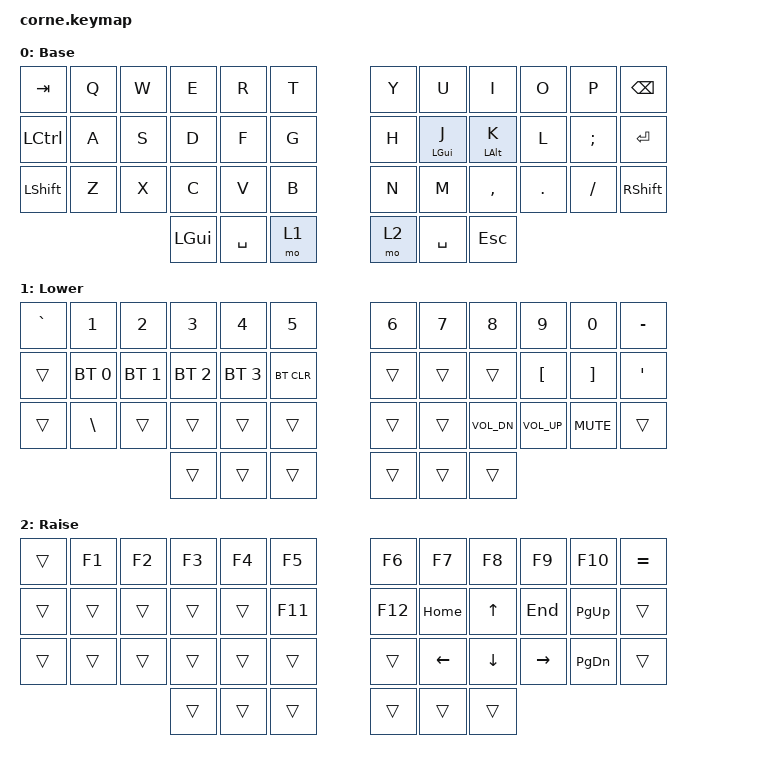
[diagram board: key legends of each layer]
/*
 * Copyright (c) 2020 The ZMK Contributors
 *
 * SPDX-License-Identifier: MIT
 */

#include <behaviors.dtsi>
#include <dt-bindings/zmk/keys.h>
#include <dt-bindings/zmk/bt.h>

/ {
        keymap {
                compatible = "zmk,keymap";

                default_layer {
// -------------------------------------------------------------------------------
// |  TAB |  Q  |  W  |  E  |  R  |  T  |   |  Y  |  U  |  I  |  O  |  P  | BKSP |
// | CTRL |  A  |  S  |  D  |  F  |  G  |   |  H  |  J  |  K  |  L  |  ;  | RET  |
// | SHFT |  Z  |  X  |  C  |  V  |  B  |   |  N  |  M  |  ,  |  .  |  /  | SHFT |
//                    | GUI | SPC | LWR |   | RSE | SPC | ESC |
                        display-name = "Base";
                        bindings = <
   &kp TAB   &kp Q &kp W &kp E    &kp R &kp T      &kp Y &kp U      &kp I      &kp O   &kp P    &kp BSPC
   &kp LCTRL &kp A &kp S &kp D    &kp F &kp G      &kp H &mt LGUI J &mt LALT K &kp L   &kp SEMI &kp RET
   &kp LSHFT &kp Z &kp X &kp C    &kp V &kp B      &kp N &kp M      &kp COMMA  &kp DOT &kp FSLH &kp RSHFT
                         &kp LGUI &kp SPACE &mo 1  &mo 2 &kp SPACE &kp ESC
                        >;
                };
                lower_layer {
// -------------------------------------------------------------------------------
// |  `   |  1  |  2  |  3  |  4  |  5  |   |  6  |  7  |  8  |  9  |  0  |  -   |
// |      | BT1 | BT2 | BT3 | BT4 | BTC |   |     |     |     |  [  |  ]  |  '   |
// |      |  \  |     |     |     |     |   |     |     | VDN | VUP | VMT |      |
//                    |     |     |     |   |     |     |     |
                        display-name = "Lower";
                        bindings = <
   &kp GRAVE &kp N1       &kp N2       &kp N3       &kp N4       &kp N5      &kp N6 &kp N7 &kp N8       &kp N9       &kp N0     &kp MINUS
   &trans    &bt BT_SEL 0 &bt BT_SEL 1 &bt BT_SEL 2 &bt BT_SEL 3 &bt BT_CLR  &trans &trans &trans       &kp LBKT     &kp RBKT   &kp SQT
   &trans    &kp BSLH     &trans       &trans       &trans       &trans      &trans &trans &kp C_VOL_DN &kp C_VOL_UP &kp C_MUTE &trans
                                       &trans       &trans       &trans      &trans &trans &trans
                        >;
                };

                raise_layer {
// -------------------------------------------------------------------------------
// |      | F1  | F2  | F3  | F4  | F5  |   | F6  | F7  | F8  | F9  | F10 |  =   |
// |      |     |     |     |     | F11 |   | F12 | HME | UP  | END | PUP |      |
// |      |     |     |     |     |     |   |     | LFT | DN  | RGT | PDN |      |
//                    |     |     |     |   |     |     |     |
                        display-name = "Raise";
                        bindings = <
   &trans &kp F1  &kp F2 &kp F3 &kp F4 &kp F5   &kp F6  &kp F7   &kp F8   &kp F9    &kp F10   &kp EQUAL
   &trans &trans  &trans &trans &trans &kp F11  &kp F12 &kp HOME &kp UP   &kp END   &kp PG_UP &trans
   &trans &trans  &trans &trans &trans &trans   &trans  &kp LEFT &kp DOWN &kp RIGHT &kp PG_DN &trans
                         &trans &trans &trans   &trans  &trans &trans
                        >;
                };

                extra_1 {
                        status = "reserved";
                };

                extra_2 {
                        status = "reserved";
                };

                extra_3 {
                        status = "reserved";
                };
        };
};
